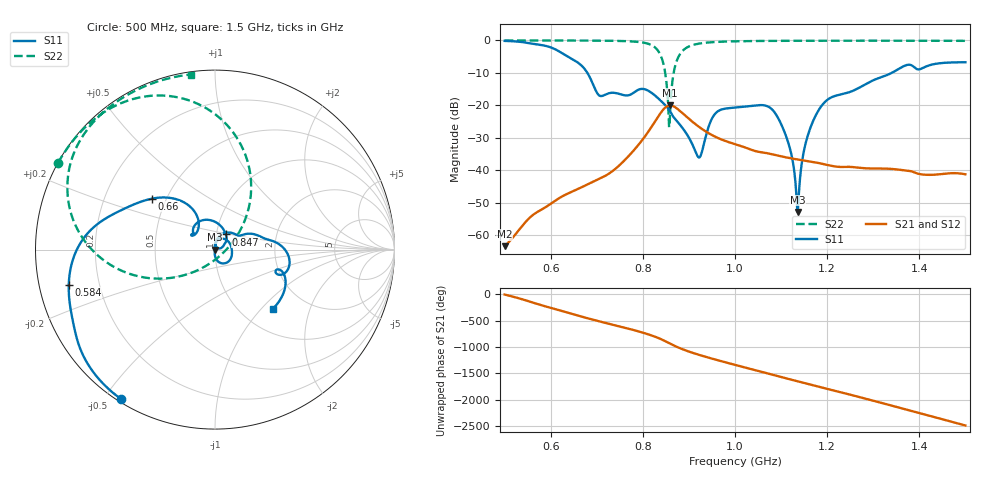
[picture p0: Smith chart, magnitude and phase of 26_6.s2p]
! TOUCHSTONE file generated by CST MICROWAVE STUDIO
! Date and time: Sat Oct 24 11:47:41 2020
! Project name: Scenario_1_Circular_Tissue_out_of_Line.cst
! Parameters = {dy1=87.525; L_HA=400; MT=2.54; Rad_Dielectric=30; Rad_Lower=7.3; Rad_Upper=30; a_HA=580; a_WG=246; b_HA=500; b_WG=121; c_HA=0; c_WG=187; d_feed=85; dx1=1039; h_feed=15; h_lower=18; h_upper=40}
! Header version: 2018
! Port assignment regex: !\s*Touchstone port\s*([0-9]+)\s*=\s*(CST MWS port|CST DS port)\s*([0-9]+|Zmin|Zmax)\s*\(\"(.*)\"\)(\s*mode\s*([0-9]+))?.*
! Touchstone port assignment:
! Touchstone port 1 = CST MWS port 1 ("")
! Touchstone port 2 = CST MWS port 2 ("")
# GHz S DB R 50
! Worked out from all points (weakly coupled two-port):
!   1001 points, 500 MHz to 1.5 GHz, reference 50 ohm
!   highest |S21| = -20.01 dB at 859 MHz (marker M1); lowest = -63.3 dB at 500 MHz (marker M2)
!   lowest |S11| = -52.8 dB at 1.136 GHz (marker M3), VSWR 1.00, Z = 49.8 + j0.0165 ohm
!   |S11| at or under -10 dB: 679.7 MHz to 1.34 GHz (660.3 MHz wide, 65.4 % of centre)
!   |S22| runs from -26.7 to 0.0 dB; largest |S21 - S12| = 7.6e-06
!   S11 on the Smith chart (normalised r, x): 500 MHz: 0.01, -0.55; 584 MHz: 0.09, -0.12; 660 MHz: 0.42, +0.30; 847 MHz: 1.11, +0.19; 1.5 GHz: 1.39, -1.16
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0.5  -0.15 -122.3  -63.35 -3.3  -63.35 -3.3  -0.01 151.1
0.584  -1.53 -166.4  -51.76 144.1  -51.76 144.1  -0.02 145.3
0.66  -6.92 140.9  -45.68 -45.8  -45.68 -45.8  -0.04 139.0
0.667  -7.75 134.8  -45.22 -62.4  -45.22 -62.4  -0.04 138.4
0.707  -17.07 136.2  -42.53 -155.3  -42.53 -155.3  -0.07 134.0
0.788  -15.35 134.7  -32.57 24.3  -32.57 24.3  -0.43 117.6
0.834  -17.91 70.8  -23.30 -109.2  -23.30 -109.2  -3.38 82.7
0.847  -19.69 54.5  -20.88 -161.2  -20.88 -161.2  -8.76 56.8
0.854  -20.75 45.2  -20.17 167.8  -20.17 167.8  -17.73 29.0
0.859  -21.80 38.1  -20.01 145.4  -20.01 145.4  -22.77 -104.6
0.877  -25.34 25.7  -21.29 71.3  -21.29 71.3  -5.13 -168.9
0.922  -36.05 46.0  -26.62 -67.6  -26.62 -67.6  -0.98 157.0
0.955  -22.90 58.2  -29.50 -151.1  -29.50 -151.1  -0.50 147.8
1  -20.68 5.3  -31.94 102.6  -31.94 102.6  -0.27 140.2
1.087  -22.38 -70.8  -35.27 -97.6  -35.26 -97.7  -0.13 130.9
1.118  -32.64 -93.6  -36.21 -168.8  -36.21 -168.8  -0.11 128.1
1.136  -52.84 175.8  -36.64 150.5  -36.64 150.5  -0.11 126.7
1.15  -33.71 93.5  -36.95 118.9  -36.95 118.9  -0.10 125.5
1.167  -25.65 81.6  -37.35 80.5  -37.35 80.5  -0.10 124.2
1.204  -17.93 48.3  -38.45 -1.9  -38.45 -1.9  -0.09 121.3
1.334  -10.41 10.6  -39.51 63.3  -39.51 63.3  -0.09 111.5
1.5  -6.72 -45.7  -41.21 33.2  -41.21 33.2  -0.13 97.9
